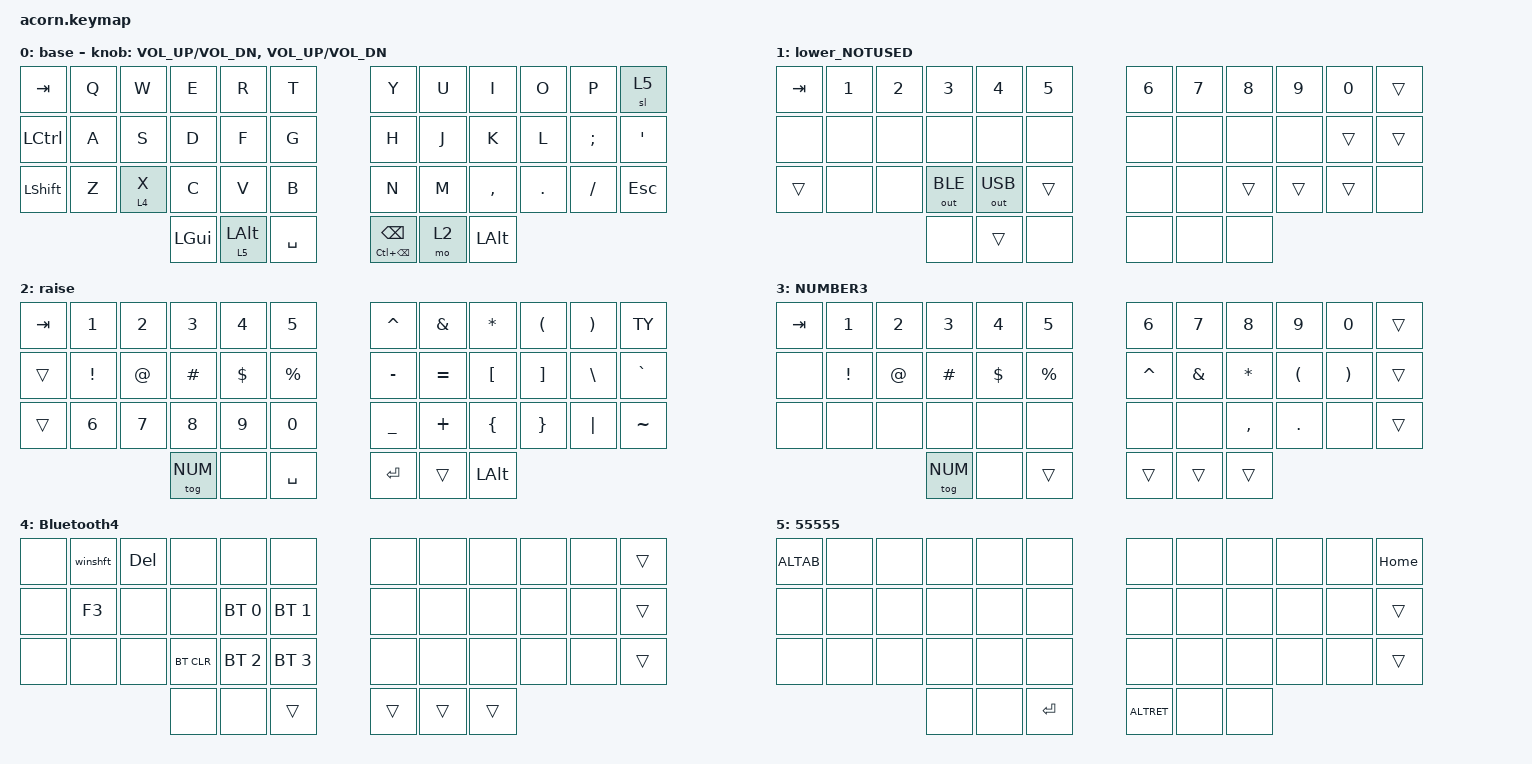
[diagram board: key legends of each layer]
#include <behaviors.dtsi>
#include <dt-bindings/zmk/keys.h>
#include <dt-bindings/zmk/bt.h>

#include <dt-bindings/zmk/ext_power.h>
#include <dt-bindings/zmk/outputs.h>


#include "helperRAK.h"

#define BASE   0
#define LOWER  1
#define RAISE  2
#define NUM    3
#define BT     4

&lt { quick-tap-ms = <150>; };

// keep it high until you're familiar with keyboard to avoid misclicks
// later lower it to <= 200

&mt {
  flavor = "tap-preferred";
    tapping-term-ms = <300>;
};

&sl {
    release-after-ms = <2000>;
};


#define NAV_LEFT  &mt LC(LEFT)   LEFT    // tap: left  | long-tap: beginning of line
#define NAV_RIGHT &mt LC(RIGHT)  RIGHT   // tap: right | long-tap: end       of line
#define NAV_UP    &mt LC(HOME) UP      // tap: up    | long-tap: beginning of document
#define NAV_DOWN  &mt LC(END)  DOWN    // tap: down  | long-tap: end       of document
#define NAV_BSPC  &mt LC(BSPC) BSPC    // tap: bspc  | long-tap: delete word backward
#define NAV_DEL   &mt LC(DEL)  DEL     // tap: del   | long-tap: delete word forward

    

/ {


macros {
        TY: TY {
            compatible = "zmk,behavior-macro";
            #binding-cells = <0>;
            bindings
                = <&macro_press &kp LSHFT>
                , <&macro_tap &kp T>
                , <&macro_release &kp LSHFT>
                , <&macro_tap &kp H &kp A &kp N &kp K &kp SPACE &kp Y &kp O &kp U>
                , <&macro_release &kp LSHFT>
                ;
        };


ctrlw: ctrlw {
            compatible = "zmk,behavior-macro";
            #binding-cells = <0>;
            bindings
                = <&macro_press &kp LCTRL>
                , <&macro_tap &kp W>
                , <&macro_release &kp LCTRL>
                ;
        };

ALTAB: ALTAB {
            compatible = "zmk,behavior-macro";
            #binding-cells = <0>;
            bindings
                = <&macro_press &kp LALT>
                , <&macro_tap &kp TAB>
                , <&macro_release &kp LALT>
                ;
        };

ALTRET: ALTRET {
            compatible = "zmk,behavior-macro";
            #binding-cells = <0>;
            bindings
                = <&macro_press &kp LALT>
                , <&macro_tap &kp RET>
                , <&macro_release &kp LALT>
                ;
        };

winshft: winshft {
            compatible = "zmk,behavior-macro";
            #binding-cells = <0>;
            bindings
                = <&macro_press &kp LGUI>
                , <&macro_press &kp LSHFT>
                , <&macro_tap &kp RIGHT>
                , <&macro_release &kp LGUI>
                , <&macro_release &kp LSHFT>
                ;
        };


ctrlup: ctrlup {
            compatible = "zmk,behavior-macro";
            #binding-cells = <0>;
            bindings
                = <&macro_press &kp LCTRL>
                , <&macro_tap &kp UP>
                , <&macro_release &kp LCTRL>
                ;
        };
shifq: shifq {
            compatible = "zmk,behavior-macro";
            #binding-cells = <0>;
            bindings
                = <&macro_press &kp LSHFT>
                , <&macro_tap &kp QMARK>
                , <&macro_release &kp LSHFT>
                ;
        };


    };





    keymap {
        compatible = "zmk,keymap";

        default_layer {
            display-name = "base";
            sensor-bindings = <&inc_dec_kp C_VOL_UP C_VOL_DN &inc_dec_kp C_VOL_UP C_VOL_DN>;
// -----------------------------------------------------------------------------------------
// |  TAB |  Q  |  W  |  E  |  R  |  T  |   |  Y  |  U   |  I  |  O  |  P  | BSPC |
// | CTRL |  A  |  S  |  D  |  F  |  G  |   |  H  |  J   |  K  |  L  |  ;  |  '   |
// | SHFT |  Z  |  X  |  C  |  V  |  B  |   |  N  |  M   |  ,  |  .  |  /  | ESC  |
//                    | GUI | LWR | SPC |   | ENT | RSE  | ALT |
            bindings = <
&kp TAB     &kp Q &kp W     &kp E    &kp R     &kp T       &kp Y   &kp U  &kp I     &kp O   &kp P    &sl 5
&kp LCTRL   &kp A &kp S     &kp D    &kp F     &kp G       &kp H   &kp J  &kp K     &kp L   &kp SEMI &kp SQT
&kp LSHFT   &kp Z &lt 4 X   &kp C    &kp V     &kp B       &kp N   &kp M  &kp COMMA &kp DOT &kp FSLH &kp ESC
                          &kp LGUI &lt 5 LALT  &kp SPACE   NAV_BSPC &mo 2  &kp LALT
            >;
        };

        lower_layer {
            display-name = "lower_NOTUSED";
// -----------------------------------------------------------------------------------------
// |  TAB |  1  |  2  |  3  |  4  |  5  |   |  6  |  7  |  8  |  9  |  0  | BSPC |
// | BTCLR| BT1 | BT2 | BT3 | BT4 | BT5 |   | LFT | DWN |  UP | RGT |     |      |
// | SHFT |     |     |     |     |     |   |     |     |     |     |     |      |
//                    | GUI |     | SPC |   | ENT |     | ALT |
            bindings = <
&kp TAB    &kp N1       &kp N2       &kp N3        &kp N4       &kp N5         &kp N6   &kp N7   &kp N8  &kp N9    &kp N0 &trans
&none      &none        &none        &none         &none        &none          &none    &none    &none   &none     &trans &trans
&trans     &none        &none        &out OUT_BLE  &out OUT_USB &trans         &none    &none    &trans  &trans    &trans &none
                                     &none         &trans       &none          &none    &none    &none
            >;
        };

        raise_layer {
            display-name = "raise";
// -----------------------------------------------------------------------------------------
// |  TAB |  !  |  @  |  #  |  $  |  %  |   |  ^  |  &  |  *  |  (  |  )  | BSPC |
// | CTRL |     |     |     |     |     |   |  -  |  =  |  [  |  ]  |  \  |  `   |
// | SHFT |     |     |     |     |     |   |  _  |  +  |  {  |  }  | "|" |  ~   |
//                    | GUI |     | SPC |   | ENT |     | ALT |
            bindings = <
&kp TAB  &kp N1   &kp N2   &kp N3  &kp N4    &kp N5      &kp CARET &kp AMPS  &kp ASTRK &kp LPAR &kp RPAR &TY
&trans   &kp EXCL &kp AT &kp HASH &kp DLLR &kp PRCNT     &kp MINUS &kp EQUAL &kp LBKT  &kp RBKT &kp BSLH &kp GRAVE
&trans   &kp N6   &kp N7   &kp N8  &kp N9    &kp N0      &kp UNDER &kp PLUS  &kp LBRC  &kp RBRC &kp PIPE &kp TILDE
                         &tog NUM  &none     &kp SPACE   &kp RET   &trans    &kp LALT
            >;
        };

        num_layer {
            display-name = "NUMBER3";
            bindings = <
&kp TAB  &kp N1    &kp N2    &kp N3   &kp N4    &kp N5            &kp N6     &kp N7     &kp N8     &kp N9    &kp N0      &trans
&none    &kp EXCL  &kp AT    &kp HASH &kp DLLR  &kp PRCNT         &kp CARET  &kp AMPS   &kp STAR   &kp LPAR  &kp RPAR    &trans
&none    &none     &none     &none    &none     &none             &none      &none      &kp COMMA  &kp DOT   &none       &trans
                             &tog NUM &none     &trans            &trans     &trans     &trans
            >;
                };

        BT_layer {
            display-name = "Bluetooth4";
            bindings = <
&none   &winshft  &kp DEL   &none         &none        &none         &none      &none      &none      &none     &none       &trans
&none   &kp F3    &none     &none         &bt BT_SEL 0 &bt BT_SEL 1  &none      &none      &none      &none     &none       &trans
&none   &none     &none     &bt BT_CLR    &bt BT_SEL 2 &bt BT_SEL 3  &none      &none      &none      &none     &none       &trans
                            &none         &none        &trans        &trans     &trans     &trans
            >;
                };


        extra_layer0 {
            display-name = "55555";
            bindings = <
&ALTAB  &none     &none     &none    &none     &none         &none      &none      &none      &none     &none       &kp HOME
&none   &none     &none     &none    &none     &none         &none      &none      &none      &none     &none       &trans
&none   &none     &none     &none    &none     &none         &none      &none      &none      &none     &none       &trans
                            &none    &none     &kp RET       &ALTRET    &none      &none
            >;
        };

        extra_layer1 {
            display-name = "extra_layer1";
            status = "reserved";
        };

        extra_layer2 {
            display-name = "extra_layer2";
            status = "reserved";
        };

    };

};
